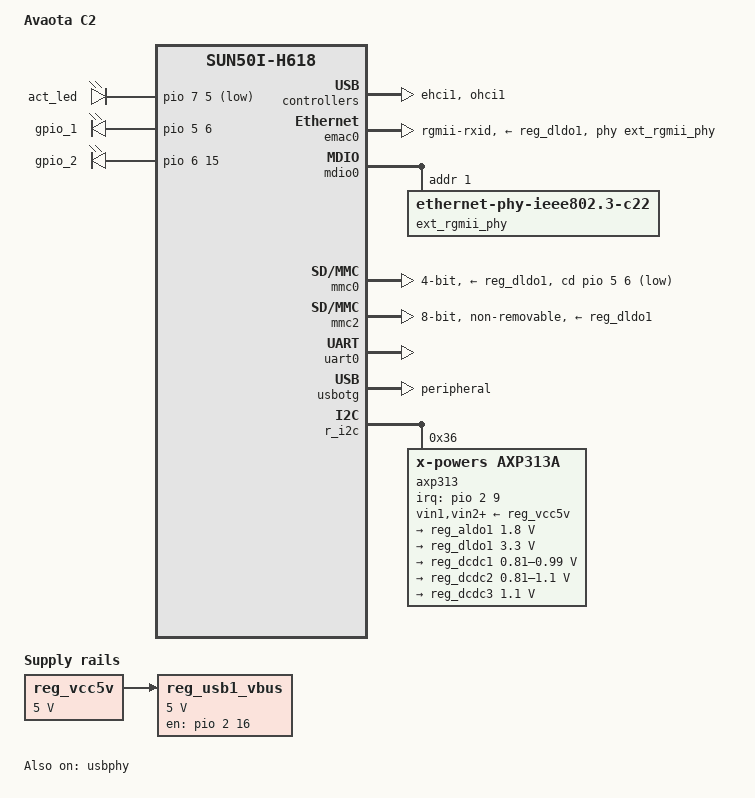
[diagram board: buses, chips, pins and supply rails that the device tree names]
// SPDX-License-Identifier: (GPL-2.0+ OR MIT)
/*
 * Copyright (C) 2020 Arm Ltd.
 *
 * Excludes PMIC nodes and properties, since they are different between the two.
 */
 /dts-v1/;

#include "sun50i-h616.dtsi"
#include <dt-bindings/gpio/gpio.h>
#include <dt-bindings/interrupt-controller/arm-gic.h>
#include <dt-bindings/leds/common.h>

/ {
	model = "Avaota C2";
	compatible = "avaotasbc,avaota-c2", "allwinner,sun50i-h618";

	aliases {
		ethernet0 = &emac0;
		serial0 = &uart0;
	};

	chosen {
		stdout-path = "serial0:115200n8";
	};

	leds {
		compatible = "gpio-leds";

		act_led: led-0 {
			gpios = <&pio 7 5 GPIO_ACTIVE_LOW>; /* PH5 */
			linux,default-trigger = "heartbeat";
		};

		gpio_1 {
			function = "wifi_power";
			gpios = <&pio 5 6 GPIO_ACTIVE_HIGH>; /* PF6 */
			default-state = "on";
		};

		gpio_2 {
			function = "wifi_wake";
			gpios = <&pio 6 15 GPIO_ACTIVE_HIGH>; /* PG15 */
			default-state = "on";
		};
	};

	reg_vcc5v: vcc5v {
		/* board wide 5V supply directly from the USB-C socket */
		compatible = "regulator-fixed";
		regulator-name = "vcc-5v";
		regulator-min-microvolt = <5000000>;
		regulator-max-microvolt = <5000000>;
		regulator-always-on;
	};

	reg_usb1_vbus: regulator-usb1-vbus {
		compatible = "regulator-fixed";
		regulator-name = "usb1-vbus";
		regulator-min-microvolt = <5000000>;
		regulator-max-microvolt = <5000000>;
		vin-supply = <&reg_vcc5v>;
		enable-active-high;
		gpio = <&pio 2 16 GPIO_ACTIVE_HIGH>; /* PC16 */
	};
};

&ehci1 {
	status = "okay";
};

/* USB 2 & 3 are on headers only. */

&emac0 {
	pinctrl-names = "default";
	pinctrl-0 = <&ext_rgmii_pins>;
	phy-handle = <&ext_rgmii_phy>;
	status = "okay";
};

&mdio0 {
	ext_rgmii_phy: ethernet-phy@1 {
		compatible = "ethernet-phy-ieee802.3-c22";
		reg = <1>;
	};
};

&mmc0 {
	cd-gpios = <&pio 5 6 GPIO_ACTIVE_LOW>;	/* PF6 */
	bus-width = <4>;
	status = "okay";
};

&mmc2 {
	vmmc-supply = <&reg_dldo1>;
	no-1-8-v;
	bus-width = <8>;
	non-removable;
	status = "okay";
};

&ohci1 {
	status = "okay";
};

&uart0 {
	pinctrl-names = "default";
	pinctrl-0 = <&uart0_ph_pins>;
	status = "okay";
};

&usbotg {
	/*
	 * PHY0 pins are connected to a USB-C socket, but a role switch
	 * is not implemented: both CC pins are pulled to GND.
	 * The VBUS pins power the device, so a fixed peripheral mode
	 * is the best choice.
	 * The board can be powered via GPIOs, in this case port0 *can*
	 * act as a host (with a cable/adapter ignoring CC), as VBUS is
	 * then provided by the GPIOs. Any user of this setup would
	 * need to adjust the DT accordingly: dr_mode set to "host",
	 * enabling OHCI0 and EHCI0.
	 */
	dr_mode = "peripheral";
	status = "okay";
};

&usbphy {
	usb1_vbus-supply = <&reg_usb1_vbus>;
	status = "okay";
};

&emac0 {
	allwinner,tx-delay-ps = <700>;
	phy-mode = "rgmii-rxid";
	phy-supply = <&reg_dldo1>;
};

&ext_rgmii_phy {
	motorcomm,clk-out-frequency-hz = <125000000>;
};

&mmc0 {
	/*
	 * The schematic shows the card detect pin wired up to PF6, via an
	 * inverter, but it just doesn't work.
	 */
	broken-cd;
	vmmc-supply = <&reg_dldo1>;
};

&r_i2c {
	status = "okay";

	axp313: pmic@36 {
		compatible = "x-powers,axp313a";
		reg = <0x36>;
		#interrupt-cells = <1>;
		interrupt-controller;
		interrupt-parent = <&pio>;
		interrupts = <2 9 IRQ_TYPE_LEVEL_LOW>;	/* PC9 */

		vin1-supply = <&reg_vcc5v>;
		vin2-supply = <&reg_vcc5v>;
		vin3-supply = <&reg_vcc5v>;

		regulators {
			/* Supplies VCC-PLL, so needs to be always on. */
			reg_aldo1: aldo1 {
				regulator-always-on;
				regulator-min-microvolt = <1800000>;
				regulator-max-microvolt = <1800000>;
				regulator-name = "vcc1v8";
			};

			/* Supplies VCC-IO, so needs to be always on. */
			reg_dldo1: dldo1 {
				regulator-always-on;
				regulator-min-microvolt = <3300000>;
				regulator-max-microvolt = <3300000>;
				regulator-name = "vcc3v3";
			};

			reg_dcdc1: dcdc1 {
				regulator-always-on;
				regulator-min-microvolt = <810000>;
				regulator-max-microvolt = <990000>;
				regulator-name = "vdd-gpu-sys";
			};

			reg_dcdc2: dcdc2 {
				regulator-always-on;
				regulator-min-microvolt = <810000>;
				regulator-max-microvolt = <1100000>;
				regulator-name = "vdd-cpu";
			};

			reg_dcdc3: dcdc3 {
				regulator-always-on;
				regulator-min-microvolt = <1100000>;
				regulator-max-microvolt = <1100000>;
				regulator-name = "vdd-dram";
			};
		};
	};
};

&pio {
	vcc-pc-supply = <&reg_dldo1>;
	vcc-pf-supply = <&reg_dldo1>;
	vcc-pg-supply = <&reg_aldo1>;
	vcc-ph-supply = <&reg_dldo1>;
	vcc-pi-supply = <&reg_dldo1>;
};
